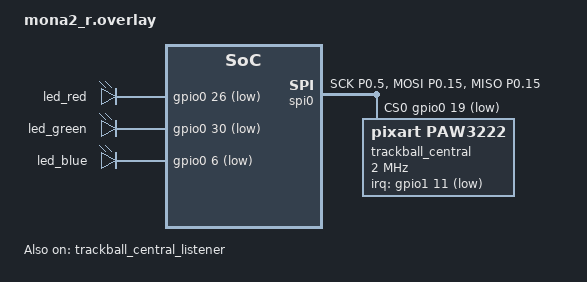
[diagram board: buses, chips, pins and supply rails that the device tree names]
#include "mona2.dtsi"
#include <input/processors.dtsi>
#include <zephyr/dt-bindings/input/input-event-codes.h>

/ {
    aliases {
        led-red = &led_red;
        led-green = &led_green;
        led-blue = &led_blue;
    };

    leds {
        compatible = "gpio-leds";
        led_red: led_red {
            gpios = <&gpio0 26 GPIO_ACTIVE_LOW>;
        };
        led_green: led_green {
            gpios = <&gpio0 30 GPIO_ACTIVE_LOW>;
        };
        led_blue: led_blue {
            gpios = <&gpio0 6 GPIO_ACTIVE_LOW>;
        };
    };

    // カスタム入力プロセッサー: 閾値付き一時レイヤー
    zip_threshold_temp_layer: input_processor_threshold_temp_layer {
        compatible = "zmk,input-processor-threshold-temp-layer";
        #input-processor-cells = <2>;
        activation-threshold = <100>;  // トラックボールを200ピクセル移動後にレイヤー1に切り替え
        require-prior-idle-ms = <0>;
        excluded-positions = <>;
    };
};

&default_transform {
    col-offset = <6>;
};

&kscan0 {
        // D6(P1.11)をIRQに解放するため、row-gpio[3]をD6→D0(P0.02)に入れ替え
        row-gpios
            = <&xiao_d 1 (GPIO_ACTIVE_HIGH | GPIO_PULL_DOWN)>
            , <&xiao_d 2 (GPIO_ACTIVE_HIGH | GPIO_PULL_DOWN)>
            , <&xiao_d 3 (GPIO_ACTIVE_HIGH | GPIO_PULL_DOWN)>
            , <&xiao_d 0 (GPIO_ACTIVE_HIGH | GPIO_PULL_DOWN)>  // D6(P1.11)→D0(P0.02)
            ;
        col-gpios
            = <&xiao_d 10 GPIO_ACTIVE_HIGH>
            , <&xiao_d 9 GPIO_ACTIVE_HIGH>
            , <&xiao_d 8 GPIO_ACTIVE_HIGH>
            , <&xiao_d 7 GPIO_ACTIVE_HIGH>
            , <&gpio0 10 GPIO_ACTIVE_HIGH>
            ;
};


&pinctrl {
    spi0_default: spi0_default {    //通常時(SPI通信中)のピン構成
        group1 {
            psels = <NRF_PSEL(SPIM_SCK, 0, 5)>,  //P0.05を指定(SCLK)
                <NRF_PSEL(SPIM_MOSI, 0, 15)>,     //P0.15を指定(heball配線に合わせる)
                <NRF_PSEL(SPIM_MISO, 0, 15)>;
        };
    };

    spi0_sleep: spi0_sleep {    //スリープ時のピン構成(省電力)
        group1 {
            psels = <NRF_PSEL(SPIM_SCK, 0, 5)>,
                <NRF_PSEL(SPIM_MOSI, 0, 15)>,
                <NRF_PSEL(SPIM_MISO, 0, 15)>;
            low-power-enable;
        };
    };
};


&spi0 {
    status = "okay";
    compatible = "nordic,nrf-spim"; //マイコンがnRFシリーズ
    pinctrl-0 = <&spi0_default>;
    pinctrl-1 = <&spi0_sleep>;
    pinctrl-names = "default", "sleep";
    cs-gpios = <&gpio0 19 GPIO_ACTIVE_LOW>;  //P0.19を指定(heball配線に合わせる)

    trackball_central: trackball_central@0 {
        status = "okay";
        compatible = "pixart,paw3222";  //トラボセンサ用のドライバとバインド
        reg = <0>;
        spi-max-frequency = <2000000>;
        irq-gpios = <&gpio1 11 (GPIO_ACTIVE_LOW | GPIO_PULL_UP)>; //P1.11を指定(heball配線に合わせる)

    };
};


// Overrides for the input listener node
&trackball_central_listener {
    status = "okay";
    device = <&trackball_central>;

    // 時計回りに90度回転（XY入れ替え + X軸反転）+ オートマウスレイヤー（閾値付き）
    input-processors = <&zip_xy_transform INPUT_TRANSFORM_XY_SWAP>,
                       <&zip_xy_transform INPUT_TRANSFORM_X_INVERT>,
                       <&zip_threshold_temp_layer 1 500>;  //オートマウスレイヤー（20ピクセル移動後、レイヤー1に500ms切り替え）

    scroller {
        layers = <6>;
        input-processors = <&zip_xy_transform INPUT_TRANSFORM_XY_SWAP>,        //X軸とY軸の入れ替え
                           <&zip_xy_transform INPUT_TRANSFORM_X_INVERT>,       //X軸反転
                           <&zip_xy_to_scroll_mapper>,                         //スクロールモードに変更
                           <&zip_scroll_transform INPUT_TRANSFORM_Y_INVERT>,   //スクロールのY軸反転
                           <&zip_scroll_scaler 1 5>;                           //スクロール量を1/5倍
    };

};
